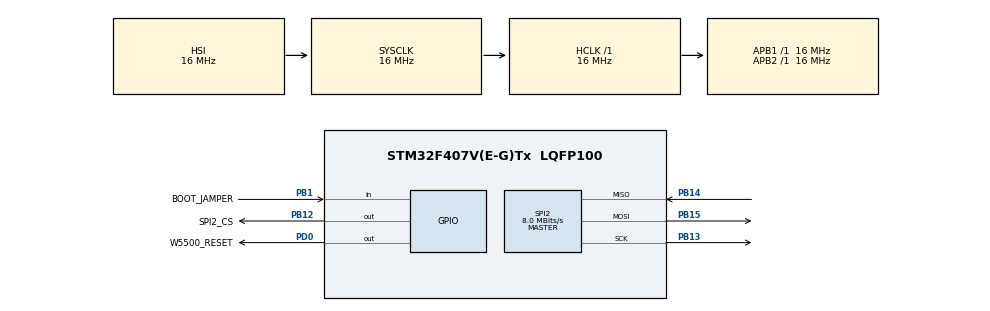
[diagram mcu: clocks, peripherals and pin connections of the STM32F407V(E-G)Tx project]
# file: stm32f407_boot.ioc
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Mcu.Family=STM32F4
Mcu.Name=STM32F407V(E-G)Tx
Mcu.Package=LQFP100
NVIC.PriorityGroup=NVIC_PRIORITYGROUP_4
PA13.Mode=Serial_Wire
PA13.Signal=SYS_JTMS-SWDIO
PA14.Mode=Serial_Wire
PA14.Signal=SYS_JTCK-SWCLK
PB1.GPIO_Label=BOOT_JAMPER
PB1.GPIO_PuPd=GPIO_PULLUP
PB1.Signal=GPIO_Input
PB12.GPIO_Label=SPI2_CS
PB12.Signal=GPIO_Output
PB13.Mode=Full_Duplex_Master
PB13.Signal=SPI2_SCK
PB14.Mode=Full_Duplex_Master
PB14.Signal=SPI2_MISO
PB15.Mode=Full_Duplex_Master
PB15.Signal=SPI2_MOSI
PD0.GPIO_Label=W5500_RESET
PD0.Signal=GPIO_Output
ProjectManager.HeapSize=0x200
ProjectManager.StackSize=0x400
ProjectManager.TargetToolchain=STM32CubeIDE
RCC.AHBFreq_Value=16000000
RCC.APB1Freq_Value=16000000
RCC.APB2Freq_Value=16000000
RCC.CortexFreq_Value=16000000
RCC.HSE_VALUE=25000000
RCC.HSI_VALUE=16000000
RCC.LSE_VALUE=32768
RCC.SYSCLKFreq_VALUE=16000000
RCC.VCOOutputFreq_Value=192000000
SPI2.CalculateBaudRate=8.0 MBits/s
SPI2.Direction=SPI_DIRECTION_2LINES
SPI2.Mode=SPI_MODE_MASTER
SPI2.VirtualType=VM_MASTER
board=custom

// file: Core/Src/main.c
/* USER CODE BEGIN Header */
/**
  ******************************************************************************
  * @file           : main.c
  * @brief          : Main program body
  ******************************************************************************
  * @attention
  *
  * Copyright (c) 2026 STMicroelectronics.
  * All rights reserved.
  *
  * This software is licensed under terms that can be found in the LICENSE file
  * in the root directory of this software component.
  * If no LICENSE file comes with this software, it is provided AS-IS.
  *
  ******************************************************************************
  */
/* USER CODE END Header */
#include "main.h"

/* USER CODE BEGIN Includes */
#include "W5500/w5500.h"																		*/
#include "socket.h"
#include "stm32f4xx_hal.h"
#include <stdbool.h>
#include <string.h>
/* USER CODE END Includes */

/* USER CODE BEGIN PTD */
#define APP_ADDRESS 		0x08008000
#define APP_FLASH_START  	0x08008000
#define APP_FLASH_END    	0x08080000
#define START_COMMAND 		0xAA

#define WAIT_SYNC_BYTE 		0
#define PARS_PACKET 		1
#define END_SESSION 		2
#define ERASE_FLASH 		3

#define BOOTLOADER_SOCKET 	0
#define BOOTLOADER_PORT 	5555
/* USER CODE END PTD */

SPI_HandleTypeDef hspi2;

/* USER CODE BEGIN PV */
wiz_NetInfo gSetNetInfo = {
	    .ip   = {10, 0, 28, 60},
	    .sn   = {255, 255, 0, 0},
	    .dhcp = NETINFO_STATIC };

uint8_t buffer_size_tx_rx[16] 			= {2, 2, 2, 2, 2, 2, 2, 2, 2, 2, 2, 2, 2, 2, 2, 2};

uint8_t 	dest_ip[4];
uint16_t 	dest_port;

static uint32_t flash_write_addr 		= APP_FLASH_START;
static uint32_t total_received 			= 0;

int32_t ret_boot						= 0;
int32_t rx_boot							= 0;
uint8_t rx_data[1064];
uint8_t tx_data[16];
uint8_t first_byte						= 0;
bool	erase_result;

typedef enum
{
    PACKET_OK,
    PACKET_BAD_FORMAT,
    PACKET_FLASH_ERROR,
    PACKET_END_CRC,
	PACKET_END_CRC_WITH_JUMP
} packet_result_t;

typedef enum
{
	STATE_WAIT_SYNC_BYTE,
	STATE_PREPARE_FLASH,
	STATE_WAIT_DATA_PACKET,
	STATE_END_SESSION,
	STATE_ERASE_FLASH,
	STATE_END_SESSION_WITH_JUMP,
} state_machine_t;

uint8_t  		ack						= 0;
uint16_t 		crc						= 0;
packet_result_t res						= 0;

state_machine_t state;

/* USER CODE END PV */

void SystemClock_Config(void);
static void MX_GPIO_Init(void);
static void MX_SPI2_Init(void);
/* USER CODE BEGIN PFP */
typedef void 	(*pFunction)				(void);										/* Указатель на функцию */
void 			jump_to_application			(void);										/* Функция перехода на оснновную программу */

void 			cris_enter					(void);										/* "Обёртки" пользовательских функций SPI для W5500 */
void 			cris_exit					(void);
void 			cs_select					(void);
void 			cs_deselect					(void);
uint8_t 		spi_readbyte				(void);
void 			spi_writebyte				(uint8_t wb);
void 			spi_readburst				(uint8_t* pBuf, uint16_t len);
void 			spi_writeburst				(uint8_t* pBuf, uint16_t len);

bool 			flash_erase					(void);										/* Функция стирания flash памяти */
bool 			flash_write_block			(uint8_t *data, uint32_t len);				/* Стирание блока памяти */
uint16_t 		crc16						(const uint8_t *data, uint32_t len);		/* Вычисление контрольной суммы */
bool 			verify_flash_crc			(uint16_t expected_crc);					/* Валидация контрольной суммы */

packet_result_t bootloader_process_packet	(uint8_t *buf, uint32_t len, uint8_t *ack_ctrl, uint16_t *final_crc);	/* Функция записи пакета с прошивкой во flash память */
/* USER CODE END PFP */

int main(void)
{

  /* MCU Configuration--------------------------------------------------------*/

  /* Reset of all peripherals, Initializes the Flash interface and the Systick. */
  HAL_Init();

  /* Configure the system clock */
  SystemClock_Config();

  /* Initialize all configured peripherals */
  MX_GPIO_Init();
  MX_SPI2_Init();
  /* USER CODE BEGIN 2 */
  HAL_Delay(100);															/* Задержка после инициализации интерфейсов */
  if((HAL_GPIO_ReadPin(GPIOB, GPIO_PIN_1) == GPIO_PIN_SET)) {				/* Проверка на джампер. Если он установлен, переход на основную прошивку запрещён */
	  jump_to_application();												/* Переход к основному приложению */
  }

  reg_wizchip_cs_cbfunc(cs_select, cs_deselect);							/* Регистрация функций SPI для сетевого чипа W5500 */
  reg_wizchip_spi_cbfunc(spi_readbyte, spi_writebyte);
  reg_wizchip_cris_cbfunc(cris_enter, cris_exit);
  reg_wizchip_spiburst_cbfunc(spi_readburst, spi_writeburst);

  HAL_GPIO_WritePin(GPIOD, GPIO_PIN_0, GPIO_PIN_RESET);						/* Физический сброс W5500 */
  HAL_Delay(500);
  HAL_GPIO_WritePin(GPIOD, GPIO_PIN_0, GPIO_PIN_SET);
  HAL_Delay(500);

  ctlnetwork(CN_SET_NETINFO, (void*)&gSetNetInfo);							/* Инициализация сетевого чипа параметрами (ip, mask, etc. */
  ctlwizchip(CW_INIT_WIZCHIP,(void*)buffer_size_tx_rx);						/* Установка размеров буфера */

  socket(BOOTLOADER_SOCKET, Sn_MR_UDP, BOOTLOADER_PORT, 0);					/* Открытие сокета */

  state = STATE_WAIT_SYNC_BYTE;												/* Переходим в стартовое состояние машины состояний */
  /* USER CODE END 2 */

  /* Infinite loop */
  while (1)
  {

    /* USER CODE BEGIN 3 */
	  switch(state)
	  {
	  	  case STATE_WAIT_SYNC_BYTE:														/* Ожидаем байт синхронизации */
	  	  	ret_boot = getSn_RX_RSR(0);														/* Проверяем сокет на наличие данных */
	  	  	if(ret_boot > 0)	{															/* Если данные имеются */
	  	  		rx_boot = recvfrom(0, rx_data, 1, dest_ip, &dest_port);						/* Начинаем их принимать */
	  	  		if(rx_boot > 0)	{															/* Если количество байт больше 0 (т.е. в сокете что-то есть) */
	  	  			first_byte = rx_data[0];												/* Смотрим принятый от внешнего ПО байт */
	  	  			if(first_byte == 0xAA)	{												/* Если первый принятый байт равен 0xAA */
	  	  				state = STATE_PREPARE_FLASH;										/* В случае успеха переходим к подготовке flash памяти */
	  	  			} else if (first_byte == 0xDD) {										/* Если принят байт 0xDD */
	  	  				state = STATE_ERASE_FLASH;											/* Просто стираем flash память */
	  	  			} else {
	  	  				state = STATE_WAIT_SYNC_BYTE;										/* В случае неудачи продролжаем ожидать правильный байт */
	  	  			}
	  	  			memset(rx_data, 0, sizeof(rx_data));									/* Очищаем буфер после обработки принятых данных */
	  	  		}
	  	  	}
	  	  break;

	  	  case STATE_PREPARE_FLASH:															/* Подготавливаем flash память к записи прошивки, т.к. это происходит "на лету" */
	  		erase_result = flash_erase();
	  		tx_data[0] = erase_result ? 0xBB : 0xCC;
	  		state = erase_result ? STATE_WAIT_DATA_PACKET : STATE_WAIT_SYNC_BYTE;
	  		sendto(0, tx_data, 1, &dest_ip, dest_port);
	  		memset(rx_data, 0, sizeof(rx_data));
	  	  break;

	  	  case STATE_WAIT_DATA_PACKET:														/* Ожидаем пакеты с прошивкой */
	  		ret_boot = getSn_RX_RSR(0);														/* Проверяем сокет на наличие данных */
	  		  if(ret_boot > 0) {															/* Если данные имеются */
	  			  rx_boot = recvfrom(0, rx_data, sizeof(rx_data), dest_ip, &dest_port);		/* Начинаем их принимать */
	  			  if(rx_boot > 0) {															/* Если количество байт больше 0 (т.е. в сокете что-то есть) */
	  	  			res = bootloader_process_packet(rx_data, rx_boot, &ack, &crc);			/* Сразу передаём полученные данные в функцию записи flash */

	  	  			switch(res)																/* Машина состояний, отслеживающая процесс записи во flash */
	  	  			{
	  	  				case PACKET_OK:														/* Если пакет был записан без ошибок */
	  	  					sendto(0, &ack, 1, &dest_ip, dest_port);						/* Отправляем в ПО код готовности принятия следующего пакета */
	  	  				break;

	  	  				case PACKET_FLASH_ERROR:											/* Если произошла ошибка записи */
	  	  					tx_data[0] = 0xCC;												/* Сообщим об этом внешнему ПО */
	  	  					sendto(0, tx_data, 1, &dest_ip, dest_port);
	  	  					state = STATE_WAIT_SYNC_BYTE;									/* Переходим к ожиданию синхробайта (начало приёма и записи прошивки сначала */
	  	  				break;

	  	  				case PACKET_END_CRC:												/* Если был принят последний пакет с контрольной суммой */
	  	  					erase_result = verify_flash_crc(crc);
	  	  					tx_data[0] = erase_result ? 0xE2 : 0xE1;
	  	  					state = erase_result ? STATE_END_SESSION : STATE_WAIT_SYNC_BYTE;
	  	  					sendto(0, tx_data, 1, &dest_ip, dest_port);
	  	  				break;

	  	  				case PACKET_END_CRC_WITH_JUMP:
	  	  					erase_result = verify_flash_crc(crc);
	  	  					tx_data[0] = erase_result ? 0xE2 : 0xE1;
	  	  					state = erase_result ? STATE_END_SESSION_WITH_JUMP : STATE_WAIT_SYNC_BYTE;
	  	  					sendto(0, tx_data, 1, &dest_ip, dest_port);
	  	  				break;

	  	  				default:															/* При неизвестной ошибке отправим во внешнее ПО код 0xEE */
	  	  					tx_data[0] = 0xE0;
	  	  					sendto(0, tx_data, 1, &dest_ip, dest_port);
	  	  					state = STATE_WAIT_SYNC_BYTE;									/* Переход в начало процедуры (ожидание синхробайта) */
	  	  				break;
	  	  			}
	  	  			memset(rx_data, 0, sizeof(rx_data));									/* Очищаем буфер после обработки принятых данных */
	  	  		}
	  	  	}
	  	  break;

	  	  case STATE_END_SESSION:															/* Состояние завершения приёма пакетов */
	  	  	HAL_SPI_DeInit(&hspi2);															/* Деинициализация интерфейса SPI */
	  	  	HAL_GPIO_DeInit(GPIOB, GPIO_PIN_12);											/* Деиницализация джампера, вывода сброса и chip select сетевого чипа */
	  	  	HAL_GPIO_DeInit(GPIOB, GPIO_PIN_1);
	  	  	HAL_GPIO_DeInit(GPIOD, GPIO_PIN_0);
	  	  	state = STATE_WAIT_SYNC_BYTE;
	  	  break;

	  	  case STATE_END_SESSION_WITH_JUMP:
	  		HAL_SPI_DeInit(&hspi2);
	  		HAL_GPIO_DeInit(GPIOB, GPIO_PIN_12);
	  		HAL_GPIO_DeInit(GPIOB, GPIO_PIN_1);
	  		HAL_GPIO_DeInit(GPIOD, GPIO_PIN_0);
	  		jump_to_application();															/* Переход в основную программу */
	  	  break;

	  	  case STATE_ERASE_FLASH:															/* Состояние стирания flash без записи прошивки */
	  	  	erase_result = flash_erase();													/* Стираем flash память */
	  	  	tx_data[0] = erase_result ? 0xBB : 0xCC;
	  	  	state = STATE_WAIT_SYNC_BYTE;
	  	  	sendto(0, tx_data, 1, &dest_ip, dest_port);
	  	  	memset(rx_data, 0, sizeof(rx_data));											/* Очищаем буфер после обработки принятых данных */
	  	  break;
	  }
  }
  /* USER CODE END 3 */
}

void SystemClock_Config(void)
{
  RCC_OscInitTypeDef RCC_OscInitStruct = {0};
  RCC_ClkInitTypeDef RCC_ClkInitStruct = {0};

  /** Configure the main internal regulator output voltage
  */
  __HAL_RCC_PWR_CLK_ENABLE();
  __HAL_PWR_VOLTAGESCALING_CONFIG(PWR_REGULATOR_VOLTAGE_SCALE1);

  /** Initializes the RCC Oscillators according to the specified parameters
  * in the RCC_OscInitTypeDef structure.
  */
  RCC_OscInitStruct.OscillatorType = RCC_OSCILLATORTYPE_HSI;
  RCC_OscInitStruct.HSIState = RCC_HSI_ON;
  RCC_OscInitStruct.HSICalibrationValue = RCC_HSICALIBRATION_DEFAULT;
  RCC_OscInitStruct.PLL.PLLState = RCC_PLL_NONE;
  if (HAL_RCC_OscConfig(&RCC_OscInitStruct) != HAL_OK)
  {
    Error_Handler();
  }

  /** Initializes the CPU, AHB and APB buses clocks
  */
  RCC_ClkInitStruct.ClockType = RCC_CLOCKTYPE_HCLK|RCC_CLOCKTYPE_SYSCLK
                              |RCC_CLOCKTYPE_PCLK1|RCC_CLOCKTYPE_PCLK2;
  RCC_ClkInitStruct.SYSCLKSource = RCC_SYSCLKSOURCE_HSI;
  RCC_ClkInitStruct.AHBCLKDivider = RCC_SYSCLK_DIV1;
  RCC_ClkInitStruct.APB1CLKDivider = RCC_HCLK_DIV1;
  RCC_ClkInitStruct.APB2CLKDivider = RCC_HCLK_DIV1;

  if (HAL_RCC_ClockConfig(&RCC_ClkInitStruct, FLASH_LATENCY_0) != HAL_OK)
  {
    Error_Handler();
  }
}

static void MX_SPI2_Init(void)
{

  /* SPI2 parameter configuration*/
  hspi2.Instance = SPI2;
  hspi2.Init.Mode = SPI_MODE_MASTER;
  hspi2.Init.Direction = SPI_DIRECTION_2LINES;
  hspi2.Init.DataSize = SPI_DATASIZE_8BIT;
  hspi2.Init.CLKPolarity = SPI_POLARITY_LOW;
  hspi2.Init.CLKPhase = SPI_PHASE_1EDGE;
  hspi2.Init.NSS = SPI_NSS_SOFT;
  hspi2.Init.BaudRatePrescaler = SPI_BAUDRATEPRESCALER_2;
  hspi2.Init.FirstBit = SPI_FIRSTBIT_MSB;
  hspi2.Init.TIMode = SPI_TIMODE_DISABLE;
  hspi2.Init.CRCCalculation = SPI_CRCCALCULATION_DISABLE;
  hspi2.Init.CRCPolynomial = 10;
  if (HAL_SPI_Init(&hspi2) != HAL_OK)
  {
    Error_Handler();
  }

}

static void MX_GPIO_Init(void)
{
  GPIO_InitTypeDef GPIO_InitStruct = {0};

  /* GPIO Ports Clock Enable */
  __HAL_RCC_GPIOB_CLK_ENABLE();
  __HAL_RCC_GPIOA_CLK_ENABLE();
  __HAL_RCC_GPIOD_CLK_ENABLE();

  /*Configure GPIO pin Output Level */
  HAL_GPIO_WritePin(SPI2_CS_GPIO_Port, SPI2_CS_Pin, GPIO_PIN_RESET);

  /*Configure GPIO pin Output Level */
  HAL_GPIO_WritePin(W5500_RESET_GPIO_Port, W5500_RESET_Pin, GPIO_PIN_RESET);

  /*Configure GPIO pin : BOOT_JAMPER_Pin */
  GPIO_InitStruct.Pin = BOOT_JAMPER_Pin;
  GPIO_InitStruct.Mode = GPIO_MODE_INPUT;
  GPIO_InitStruct.Pull = GPIO_PULLUP;
  HAL_GPIO_Init(BOOT_JAMPER_GPIO_Port, &GPIO_InitStruct);

  /*Configure GPIO pin : SPI2_CS_Pin */
  GPIO_InitStruct.Pin = SPI2_CS_Pin;
  GPIO_InitStruct.Mode = GPIO_MODE_OUTPUT_PP;
  GPIO_InitStruct.Pull = GPIO_NOPULL;
  GPIO_InitStruct.Speed = GPIO_SPEED_FREQ_LOW;
  HAL_GPIO_Init(SPI2_CS_GPIO_Port, &GPIO_InitStruct);

  /*Configure GPIO pin : W5500_RESET_Pin */
  GPIO_InitStruct.Pin = W5500_RESET_Pin;
  GPIO_InitStruct.Mode = GPIO_MODE_OUTPUT_PP;
  GPIO_InitStruct.Pull = GPIO_NOPULL;
  GPIO_InitStruct.Speed = GPIO_SPEED_FREQ_LOW;
  HAL_GPIO_Init(W5500_RESET_GPIO_Port, &GPIO_InitStruct);

}

/* USER CODE BEGIN 4 */
void jump_to_application(void) {
    uint32_t appStack = *(uint32_t*)APP_ADDRESS;
    uint32_t appEntry = *(uint32_t*)(APP_ADDRESS + 4);

    if (appStack < 0x20000000 || appStack > 0x20020000)
        return;

    __disable_irq();

    HAL_DeInit();
    SysTick->CTRL = 0;

    SCB->VTOR = APP_ADDRESS;

    __set_MSP(appStack);

    pFunction resetHandler = (pFunction)appEntry;
    resetHandler();
}

void 	cs_select(void) {
	HAL_GPIO_WritePin(GPIOB, GPIO_PIN_12, RESET);
}

void 	cs_deselect(void) {
	HAL_GPIO_WritePin(GPIOB, GPIO_PIN_12, SET);
}

void 	cris_enter(void) {
	__set_PRIMASK(1);
}

void 	cris_exit(void) {
	__set_PRIMASK(0);
}

uint8_t spi_readbyte(void) {
	uint8_t data;
	HAL_SPI_Receive(&hspi2,&data,1,100);
	return data;
}

void 	spi_writebyte(uint8_t wb) {
	HAL_SPI_Transmit(&hspi2,&wb,1,100);
}

void 	spi_readburst(uint8_t* pBuf, uint16_t len) {
	HAL_SPI_Receive(&hspi2, pBuf, len, HAL_MAX_DELAY);
}

void 	spi_writeburst(uint8_t* pBuf, uint16_t len) {
	HAL_SPI_Transmit(&hspi2, pBuf, len, HAL_MAX_DELAY);
}

bool flash_erase(void) {
    FLASH_EraseInitTypeDef erase = {0};
    uint32_t sector_error;

    HAL_FLASH_Unlock();											/* Разблокировка памяти */

    erase.TypeErase = FLASH_TYPEERASE_SECTORS;
    erase.VoltageRange = FLASH_VOLTAGE_RANGE_3;

    erase.Sector = FLASH_SECTOR_2;								/* Первый сектор основного приложения */
    erase.NbSectors = 6;

    if (HAL_FLASHEx_Erase(&erase, &sector_error) != HAL_OK) {	/* Если стирание flash не прошло успешно */
        HAL_FLASH_Lock();										/* "Закрываем" память */
        return false;											/* Выводим сообщение об ошибке */
    }

    HAL_FLASH_Lock();											/* Запрещаем взаимодействие с памятью */
    return true;												/* Сообщаем о успешном окончании операции */
}

bool flash_write_block(uint8_t *data, uint32_t len) {
    uint32_t i;
    uint32_t word;

    if((len % 4) != 0)
        return false;

    HAL_FLASH_Unlock();

    for(i = 0; i < len; i += 4) {
        word =
            (data[i + 0] << 0)  |
            (data[i + 1] << 8)  |
            (data[i + 2] << 16) |
            (data[i + 3] << 24);

        if (HAL_FLASH_Program(FLASH_TYPEPROGRAM_WORD, flash_write_addr, word) != HAL_OK) {
            HAL_FLASH_Lock();
            return false;
        }

        flash_write_addr += 4;
        total_received += 4;
    }

    HAL_FLASH_Lock();
    return true;
}

packet_result_t bootloader_process_packet(uint8_t *buf, uint32_t len, uint8_t *ack_ctrl, uint16_t *final_crc) {
    uint16_t data_len;

    if (len < 4)
        return PACKET_BAD_FORMAT;

    if (buf[0] != 0x01)
        return PACKET_BAD_FORMAT;

    *ack_ctrl = buf[1];							/* Контрольный байт, полученный от ПК, и который должан быть ему возвращён */

    /* ---------- CRC пакет ---------- */
    if(buf[1] == 0xEE)							/* Если был принят код 0xEE, то это значит, что был принят последний файл с контрольной суммой */
    {
        if(len != 4)
            return PACKET_BAD_FORMAT;

        *final_crc = (buf[2] << 8) | buf[3];
        return PACKET_END_CRC;
    }

    if(buf[1] == 0xEF)
    {
    	if(len != 4)
    		return PACKET_BAD_FORMAT;

    	*final_crc = (buf[2] << 8) | buf[3];
    	return PACKET_END_CRC_WITH_JUMP;
    }

    /* ---------- DATA пакет ---------- */
    data_len = (buf[2] << 8) | buf[3];

    if(data_len == 0 || data_len > 1024)
        return PACKET_BAD_FORMAT;

    if(len != (uint32_t)(4 + data_len))
        return PACKET_BAD_FORMAT;

    if(data_len % 4)
        return PACKET_BAD_FORMAT;

    if(!flash_write_block(&buf[4], data_len))
        return PACKET_FLASH_ERROR;

    return PACKET_OK;
}

uint16_t crc16(const uint8_t *data, uint32_t len) {
    uint16_t crc = 0xFFFF;
    uint8_t  bit;

    while(len--)
    {
        crc ^= (*data++) << 8;

        for(bit = 0; bit < 8; bit++) {
            if (crc & 0x8000)
                crc = (crc << 1) ^ 0x1021;
            else
                crc <<= 1;
        }
    }

    return crc;
}

bool verify_flash_crc(uint16_t expected_crc) {
    uint8_t  *flash_ptr;
    uint16_t calc_crc;

    if(total_received == 0)
        return false;

    if(APP_FLASH_START + total_received > FLASH_END)
        return false;

    flash_ptr = (uint8_t *)APP_FLASH_START;

    calc_crc = crc16(flash_ptr, total_received);

    return (calc_crc == expected_crc);
}

/* USER CODE END 4 */

void Error_Handler(void)
{
  __disable_irq();
  while (1)
  {
  }
}
